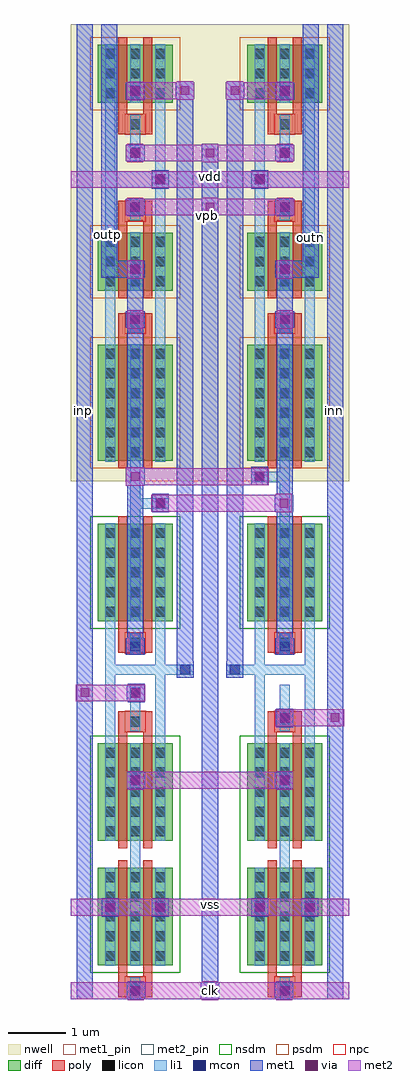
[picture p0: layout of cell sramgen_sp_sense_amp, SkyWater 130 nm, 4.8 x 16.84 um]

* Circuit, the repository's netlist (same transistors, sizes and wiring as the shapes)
************************************************************************
* auCdl Netlist:
* 
* Library Name:  AAA_Comp_SA_layers
* Top Cell Name: AAA_Comp_SA_sense
* View Name:     schematic
* Netlisted on:  Nov  1 17:24:53 2022
************************************************************************
*.BIPOLAR
*.RESI = 2000 
*.RESVAL
*.CAPVAL
*.DIOPERI
*.DIOAREA
*.EQUATION
*.SCALE METER
* .PARAM
************************************************************************
* Library Name: BAG_prim
* Cell Name:    nmos4_standard_pcell_0
* View Name:    schematic
************************************************************************
.SUBCKT nmos4_standard_pcell_0 B D G S
*.PININFO B:B D:B G:B S:B
mN0 D G S B nshort m=4 w=1.68 l=0.15 mult=1 sa=0.0 sb=0.0 sd=0.0 
+ topography=normal area=0.063 perim=1.14
.ENDS
************************************************************************
* Library Name: BAG_prim
* Cell Name:    nmos4_standard_pcell_1
* View Name:    schematic
************************************************************************
.SUBCKT nmos4_standard_pcell_1 B D G S
*.PININFO B:B D:B G:B S:B
mN0 D G S B nshort m=2 w=1.68 l=0.15 mult=1 sa=0.0 sb=0.0 sd=0.0 
+ topography=normal area=0.063 perim=1.14
.ENDS
************************************************************************
* Library Name: BAG_prim
* Cell Name:    pmos4_standard_pcell_2
* View Name:    schematic
************************************************************************
.SUBCKT pmos4_standard_pcell_2 B D G S
*.PININFO B:B D:B G:B S:B
mN0 D G S B pshort m=2 w=1.00 l=0.15 mult=1 sa=0.0 sb=0.0 sd=0.0 
+ topography=normal area=0.063 perim=1.14
.ENDS
************************************************************************
* Library Name: BAG_prim
* Cell Name:    pmos4_standard_pcell_3
* View Name:    schematic
************************************************************************
.SUBCKT pmos4_standard_pcell_3 B D G S
*.PININFO B:B D:B G:B S:B
mN0 D G S B pshort m=2 w=2.00 l=0.15 mult=1 sa=0.0 sb=0.0 sd=0.0 
+ topography=normal area=0.063 perim=1.14
.ENDS
************************************************************************
* Library Name: AAA_Comp_SA_layers
* Cell Name:    AAA_Comp_SA_sense
* View Name:    schematic
************************************************************************
.SUBCKT sramgen_sp_sense_amp clk inn inp midn midp outn outp VDD VSS
*.PININFO clk:I inn:I inp:I midn:O midp:O outn:O outp:O VDD:B VSS:B
XXTAIL VSS tail clk VSS / nmos4_standard_pcell_0
XXNFBP VSS outp outn midp / nmos4_standard_pcell_1
XXNFBN VSS outn outp midn / nmos4_standard_pcell_1
XXINP VSS midn inp tail / nmos4_standard_pcell_1
XXINN VSS midp inn tail / nmos4_standard_pcell_1
XXSWOP VDD outp clk VDD / pmos4_standard_pcell_2
XXSWON VDD outn clk VDD / pmos4_standard_pcell_2
XXSWMP VDD midp clk VDD / pmos4_standard_pcell_2
XXSWMN VDD midn clk VDD / pmos4_standard_pcell_2
XXPFBP VDD outp outn VDD / pmos4_standard_pcell_3
XXPFBN VDD outn outp VDD / pmos4_standard_pcell_3
.ENDS

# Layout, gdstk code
import gdstk
lib = gdstk.Library(unit=1e-6, precision=1e-09)
def R(c, l, rs):  # rectangles x0, y0, x1, y1
    for r in rs: c.add(gdstk.rectangle(r[:2], r[2:], *l))
def A(c, l, x, y, w, h, nx, ny, dx, dy):  # array of equal rectangles
    R(c, l, [(x+i*dx, y+j*dy, x+i*dx+w, y+j*dy+h) for i in range(nx) for j in range(ny)])
def P(c, l, *ps):  # polygons
    for p in ps: c.add(gdstk.Polygon(p, *l))
nwell = (64, 20)
diff = (65, 20)
poly = (66, 20)
licon = (66, 44)
li1 = (67, 20)
mcon = (67, 44)
met1_pin = (68, 16)
met1 = (68, 20)
via = (68, 44)
met2_pin = (69, 16)
met2 = (69, 20)
nsdm = (93, 44)
psdm = (94, 20)
npc = (95, 20)

sramgen_sp_sense_amp = lib.new_cell('sramgen_sp_sense_amp')
R(sramgen_sp_sense_amp, nwell, [(0,17.335,4.8,25.23)])
R(sramgen_sp_sense_amp, diff, [(0.465,8.985,1.755,10.665), (3.045,8.985,4.335,10.665), (0.465,11.135,1.755,12.815), (3.045,11.135,4.335,12.815), (0.465,14.925,1.755,16.605), (3.045,14.925,4.335,16.605), (0.465,17.69,1.755,19.69), (3.045,17.69,4.335,19.69), (0.465,20.63,1.755,21.63), (3.045,20.63,4.335,21.63), (0.465,23.875,1.755,24.875), (3.045,23.875,4.335,24.875)])
R(sramgen_sp_sense_amp, poly, [(0.97,8.475,1.25,8.745), (3.55,8.475,3.83,8.745), (0.97,13.055,1.25,13.325), (3.55,13.055,3.83,13.325), (0.97,14.415,1.25,14.685), (3.55,14.415,3.83,14.685), (0.97,19.93,1.25,20.2), (3.55,19.93,3.83,20.2), (0.97,21.87,1.25,22.14), (3.55,21.87,3.83,22.14), (0.97,23.365,1.25,23.635), (3.55,23.365,3.83,23.635)])
P(sramgen_sp_sense_amp, poly, [(0.82,11.005),(0.82,13.365),(1.4,13.365),(1.4,11.005),(1.25,11.005),(1.25,13.015),(0.97,13.015),(0.97,11.005)],
  [(0.82,17.56),(0.82,20.24),(1.4,20.24),(1.4,17.56),(1.25,17.56),(1.25,19.89),(0.97,19.89),(0.97,17.56)],
  [(0.82,20.5),(0.82,22.18),(1.4,22.18),(1.4,20.5),(1.25,20.5),(1.25,21.83),(0.97,21.83),(0.97,20.5)],
  [(0.82,23.325),(0.82,25.005),(0.97,25.005),(0.97,23.675),(1.25,23.675),(1.25,25.005),(1.4,25.005),(1.4,23.325)],
  [(0.82,14.375),(0.82,16.735),(0.97,16.735),(0.97,14.725),(1.25,14.725),(1.25,16.735),(1.4,16.735),(1.4,14.375)],
  [(0.82,8.435),(0.82,10.795),(0.97,10.795),(0.97,8.785),(1.25,8.785),(1.25,10.795),(1.4,10.795),(1.4,8.435)],
  [(3.4,11.005),(3.4,13.365),(3.98,13.365),(3.98,11.005),(3.83,11.005),(3.83,13.015),(3.55,13.015),(3.55,11.005)],
  [(3.4,17.56),(3.4,20.24),(3.98,20.24),(3.98,17.56),(3.83,17.56),(3.83,19.89),(3.55,19.89),(3.55,17.56)],
  [(3.4,20.5),(3.4,22.18),(3.98,22.18),(3.98,20.5),(3.83,20.5),(3.83,21.83),(3.55,21.83),(3.55,20.5)],
  [(3.4,23.325),(3.4,25.005),(3.55,25.005),(3.55,23.675),(3.83,23.675),(3.83,25.005),(3.98,25.005),(3.98,23.325)],
  [(3.4,14.375),(3.4,16.735),(3.55,16.735),(3.55,14.725),(3.83,14.725),(3.83,16.735),(3.98,16.735),(3.98,14.375)],
  [(3.4,8.435),(3.4,10.795),(3.55,10.795),(3.55,8.785),(3.83,8.785),(3.83,10.795),(3.98,10.795),(3.98,8.435)])
A(sramgen_sp_sense_amp, licon, 0.595, 9.06, 0.17, 0.17, 3, 5, 0.43, 0.34)
A(sramgen_sp_sense_amp, licon, 3.175, 9.06, 0.17, 0.17, 3, 5, 0.43, 0.34)
A(sramgen_sp_sense_amp, licon, 0.595, 11.21, 0.17, 0.17, 3, 5, 0.43, 0.34)
A(sramgen_sp_sense_amp, licon, 3.175, 11.21, 0.17, 0.17, 3, 5, 0.43, 0.34)
A(sramgen_sp_sense_amp, licon, 0.595, 15, 0.17, 0.17, 3, 5, 0.43, 0.34)
A(sramgen_sp_sense_amp, licon, 3.175, 15, 0.17, 0.17, 3, 5, 0.43, 0.34)
A(sramgen_sp_sense_amp, licon, 0.595, 17.755, 0.17, 0.17, 3, 6, 0.43, 0.34)
A(sramgen_sp_sense_amp, licon, 3.175, 17.755, 0.17, 0.17, 3, 6, 0.43, 0.34)
A(sramgen_sp_sense_amp, licon, 0.595, 20.705, 0.17, 0.17, 3, 3, 0.43, 0.34)
A(sramgen_sp_sense_amp, licon, 3.175, 20.705, 0.17, 0.17, 3, 3, 0.43, 0.34)
A(sramgen_sp_sense_amp, licon, 0.595, 23.95, 0.17, 0.17, 3, 3, 0.43, 0.34)
A(sramgen_sp_sense_amp, licon, 3.175, 23.95, 0.17, 0.17, 3, 3, 0.43, 0.34)
R(sramgen_sp_sense_amp, licon, [(1.025,8.525,1.195,8.695), (3.605,8.525,3.775,8.695), (1.025,13.105,1.195,13.275), (3.605,13.105,3.775,13.275), (1.025,14.465,1.195,14.635), (3.605,14.465,3.775,14.635), (1.025,19.98,1.195,20.15), (3.605,19.98,3.775,20.15), (1.025,21.92,1.195,22.09), (3.605,21.92,3.775,22.09), (1.025,23.415,1.195,23.585), (3.605,23.415,3.775,23.585)])
A(sramgen_sp_sense_amp, li1, 0.595, 8.98, 0.17, 1.69, 3, 2, 0.43, 2.15)
A(sramgen_sp_sense_amp, li1, 3.175, 8.98, 0.17, 1.69, 3, 2, 0.43, 2.15)
A(sramgen_sp_sense_amp, li1, 0.595, 14.92, 0.17, 1.69, 3, 1, 0.43, 0)
A(sramgen_sp_sense_amp, li1, 3.175, 14.92, 0.17, 1.69, 3, 1, 0.43, 0)
A(sramgen_sp_sense_amp, li1, 0.595, 17.675, 0.17, 2.03, 3, 1, 0.43, 0)
A(sramgen_sp_sense_amp, li1, 3.175, 17.675, 0.17, 2.03, 3, 1, 0.43, 0)
R(sramgen_sp_sense_amp, li1, [(1.025,8.4,1.195,8.69), (1.025,8.4,1.195,8.775), (3.605,8.4,3.775,8.69), (3.605,8.4,3.775,8.775), (1.025,8.445,1.195,8.775), (1.025,8.445,1.195,8.775), (3.605,8.445,3.775,8.775), (3.605,8.445,3.775,8.775), (1.025,8.98,1.195,12.325), (3.605,8.98,3.775,12.325), (0.595,9.85,0.765,10.14), (1.455,9.85,1.625,10.14), (3.175,9.85,3.345,10.14), (4.035,9.85,4.205,10.14), (0.595,11.23,0.765,16.61), (1.455,11.23,1.625,16.61), (3.175,11.23,3.345,16.61), (4.035,11.23,4.205,16.61), (1.025,12.035,1.195,12.325), (3.605,12.035,3.775,12.325), (1.025,13.025,1.195,13.83), (1.025,13.025,1.195,13.355), (1.025,13.025,1.195,13.355), (3.605,13.025,3.775,13.83), (3.605,13.025,3.775,13.355), (3.605,13.025,3.775,13.355), (3.605,13.17,3.775,13.34), (1.025,13.6,1.195,13.77), (0.645,14,2.12,14.17), (2.68,14,4.155,14.17), (1.89,14.005,2.06,14.175), (2.74,14.005,2.91,14.175), (0.64,14.255,0.645,14.26), (4.155,14.255,4.16,14.26), (1.025,14.34,1.195,14.63), (1.025,14.34,1.195,14.715), (3.605,14.34,3.775,14.63), (3.605,14.34,3.775,14.715), (1.025,14.385,1.195,14.715), (1.025,14.385,1.195,14.715), (3.605,14.385,3.775,14.715), (3.605,14.385,3.775,14.715), (1.025,15.26,1.195,19.705), (1.025,15.26,1.195,19.705), (3.605,15.26,3.775,19.705), (3.605,15.26,3.775,19.705), (1.035,16.86,1.69,17.045), (1.4,16.875,1.69,17.045), (3.11,17.32,3.75,17.505), (3.11,17.335,3.4,17.505), (0.595,17.675,0.765,24.88), (1.455,17.675,1.625,24.88), (3.175,17.675,3.345,24.88), (4.035,17.675,4.205,24.88), (1.025,19.9,1.195,20.275), (1.025,19.9,1.195,20.23), (1.025,19.9,1.195,20.23), (3.605,19.9,3.775,20.275), (3.605,19.9,3.775,20.23), (3.605,19.9,3.775,20.23), (1.025,19.985,1.195,20.275), (3.605,19.985,3.775,20.275), (0.595,20.625,0.765,21.635), (1.025,20.625,1.195,21.635), (1.025,20.625,1.195,21.635), (1.455,20.625,1.625,21.635), (3.175,20.625,3.345,21.635), (3.605,20.625,3.775,21.635), (3.605,20.625,3.775,21.635), (4.035,20.625,4.205,21.635), (1.025,20.85,1.195,21.14), (3.605,20.85,3.775,21.14), (1.025,21.84,1.195,22.215), (1.025,21.84,1.195,22.17), (1.025,21.84,1.195,22.17), (3.605,21.84,3.775,22.215), (3.605,21.84,3.775,22.17), (3.605,21.84,3.775,22.17), (1.025,21.925,1.195,22.215), (3.605,21.925,3.775,22.215), (0.595,22.4,4.205,22.69), (1.455,22.405,1.625,22.695), (3.175,22.405,3.345,22.695), (1.025,22.86,1.195,23.15), (1.025,22.86,1.195,23.665), (3.605,22.86,3.775,23.15), (3.605,22.86,3.775,23.665), (1.025,23.335,1.195,23.665), (1.025,23.335,1.195,23.665), (3.605,23.335,3.775,23.665), (3.605,23.335,3.775,23.665), (0.595,23.87,0.765,24.88), (1.025,23.87,1.195,24.88), (1.025,23.87,1.195,24.88), (1.455,23.87,1.625,24.88), (3.175,23.87,3.345,24.88), (3.605,23.87,3.775,24.88), (3.605,23.87,3.775,24.88), (4.035,23.87,4.205,24.88), (1.025,23.935,1.195,24.225), (3.605,23.935,3.775,24.225)])
R(sramgen_sp_sense_amp, mcon, [(1.025,8.46,1.195,8.63), (3.605,8.46,3.775,8.63), (0.595,9.91,0.765,10.08), (1.455,9.91,1.625,10.08), (3.175,9.91,3.345,10.08), (4.035,9.91,4.205,10.08), (1.025,12.095,1.195,12.265), (3.605,12.095,3.775,12.265), (3.605,13.17,3.775,13.34), (1.025,13.6,1.195,13.77), (1.89,14.005,2.06,14.175), (2.74,14.005,2.91,14.175), (1.025,14.4,1.195,14.57), (3.605,14.4,3.775,14.57), (1.46,16.875,1.63,17.045), (3.17,17.335,3.34,17.505), (1.025,20.045,1.195,20.215), (3.605,20.045,3.775,20.215), (1.025,20.91,1.195,21.08), (3.605,20.91,3.775,21.08), (1.025,21.985,1.195,22.155), (3.605,21.985,3.775,22.155), (1.455,22.465,1.625,22.635), (3.175,22.465,3.345,22.635), (1.025,22.92,1.195,23.09), (3.605,22.92,3.775,23.09), (1.025,23.995,1.195,24.165), (3.605,23.995,3.775,24.165)])
R(sramgen_sp_sense_amp, met1_pin, [(0.1,8.4,0.38,25.23), (4.42,8.4,4.7,25.23), (0.52,20.85,0.8,25.23), (4,20.85,4.28,25.23)])
A(sramgen_sp_sense_amp, met1, 0.96, 8.4, 0.32, 0.29, 3, 1, 1.28, 0)
R(sramgen_sp_sense_amp, met1, [(0.1,8.4,0.38,25.23), (0.965,8.4,1.255,8.69), (2.26,8.4,2.54,23.165), (3.545,8.4,3.835,8.69), (4.42,8.4,4.7,25.23), (0.535,9.82,0.825,10.14), (1.395,9.82,1.685,10.14), (3.115,9.82,3.405,10.14), (3.975,9.82,4.265,10.14), (0.535,9.85,0.825,10.14), (1.395,9.85,1.685,10.14), (3.115,9.85,3.405,10.14), (3.975,9.85,4.265,10.14), (0.96,12.03,1.28,12.32), (3.52,12.03,3.84,12.32), (0.965,12.035,1.255,12.325), (0.965,12.035,1.255,12.325), (3.545,12.035,3.835,12.325), (3.545,12.035,3.835,12.325), (3.545,13.095,3.835,13.415), (4.42,13.1,4.7,13.42), (4.42,13.13,4.7,13.42), (0.98,13.52,1.27,13.84), (0.1,13.53,0.38,13.85), (0.965,13.54,1.255,13.83), (0.1,13.56,0.38,13.85), (1.83,13.945,2.12,14.235), (2.68,13.945,2.97,14.235), (1.83,13.965,2.11,24.24), (2.69,13.965,2.97,24.24), (0.95,14.34,1.27,14.63), (0.965,14.34,1.255,14.63), (0.97,14.34,1.25,21.155), (3.53,14.34,3.85,14.63), (3.545,14.34,3.835,14.63), (3.55,14.34,3.83,21.155), (3.55,14.665,3.83,21.155), (1.4,16.8,1.69,17.12), (1.4,16.815,1.69,17.105), (3.515,16.815,3.835,17.105), (0.95,17.26,1.27,17.58), (3.11,17.265,3.4,17.585), (3.11,17.275,3.4,17.565), (0.95,19.985,1.27,20.275), (0.95,19.985,1.27,20.275), (0.965,19.985,1.255,20.275), (3.53,19.985,3.85,20.275), (3.53,19.985,3.85,20.275), (3.545,19.985,3.835,20.275), (0.52,20.85,0.8,25.23), (0.52,20.85,1.27,21.14), (0.95,20.85,1.27,21.14), (0.965,20.85,1.255,21.14), (3.53,20.85,3.85,21.14), (3.53,20.85,4.28,21.14), (3.545,20.85,3.835,21.14), (4,20.85,4.28,25.23), (0.95,21.925,1.27,22.215), (0.965,21.925,1.255,22.215), (3.53,21.925,3.85,22.215), (3.545,21.925,3.835,22.215), (1.395,22.39,1.685,22.71), (3.115,22.39,3.405,22.71), (1.395,22.42,1.685,22.71), (3.115,22.42,3.405,22.71), (0.95,22.86,1.27,23.15), (0.965,22.86,1.26,23.15), (3.53,22.86,3.85,23.15), (3.545,22.86,3.835,23.15), (0.95,23.925,1.27,24.215), (3.53,23.925,3.85,24.215), (0.965,23.935,1.255,24.225), (1.81,23.935,2.13,24.225), (2.67,23.935,2.99,24.225), (3.545,23.935,3.835,24.225)])
A(sramgen_sp_sense_amp, via, 1.045, 8.47, 0.15, 0.15, 3, 1, 1.28, 0)
A(sramgen_sp_sense_amp, via, 1.035, 21.995, 0.15, 0.15, 3, 2, 1.29, 0.935)
R(sramgen_sp_sense_amp, via, [(0.605,9.905,0.755,10.055), (1.465,9.905,1.615,10.055), (3.185,9.905,3.335,10.055), (4.045,9.905,4.195,10.055), (1.045,12.1,1.195,12.25), (3.605,12.1,3.755,12.25), (3.615,13.18,3.765,13.33), (4.485,13.185,4.635,13.335), (1.05,13.605,1.2,13.755), (0.165,13.615,0.315,13.765), (1.47,16.885,1.62,17.035), (3.6,16.885,3.75,17.035), (1.035,17.345,1.185,17.495), (3.18,17.35,3.33,17.5), (1.035,20.055,1.185,20.205), (3.615,20.055,3.765,20.205), (1.035,20.92,1.185,21.07), (3.615,20.92,3.765,21.07), (1.465,22.475,1.615,22.625), (3.185,22.475,3.335,22.625), (1.035,23.995,1.185,24.145), (3.615,23.995,3.765,24.145), (1.895,24.005,2.045,24.155), (2.755,24.005,2.905,24.155)])
R(sramgen_sp_sense_amp, met2_pin, [(0,8.4,4.8,8.69), (0,9.84,4.8,10.13), (0,22.4,4.8,22.69)])
A(sramgen_sp_sense_amp, met2, 0.98, 8.385, 0.28, 0.32, 3, 1, 1.28, 0)
A(sramgen_sp_sense_amp, met2, 0.52, 9.84, 0.32, 0.28, 3, 1, 0.43, 0)
A(sramgen_sp_sense_amp, met2, 3.1, 9.84, 0.32, 0.28, 3, 1, 0.43, 0)
A(sramgen_sp_sense_amp, met2, 0.97, 21.91, 0.28, 0.32, 3, 2, 1.29, 0.935)
R(sramgen_sp_sense_amp, met2, [(0,8.4,4.8,8.69), (0.965,8.4,3.835,8.69), (2.55,8.4,3.555,8.69), (0,9.84,4.8,10.13), (0.98,12.015,1.26,12.335), (3.54,12.015,3.82,12.335), (0.965,12.035,3.835,12.325), (3.53,13.11,4.72,13.4), (0.08,13.54,1.285,13.83), (0.965,13.54,1.285,13.82), (3.535,16.8,3.815,17.12), (1.385,16.815,3.815,17.105), (1.385,16.82,1.705,17.1), (0.95,17.26,1.27,17.58), (0.95,17.27,3.415,17.56), (3.095,17.285,3.415,17.565), (0.97,19.97,1.25,20.29), (3.55,19.97,3.83,20.29), (0.97,20.835,1.25,21.155), (3.55,20.835,3.83,21.155), (0.95,21.925,3.85,22.215), (0,22.4,4.8,22.69), (1.38,22.41,1.7,22.69), (3.1,22.41,3.42,22.69), (0.95,22.86,3.85,23.15), (0.97,23.91,1.25,24.23), (3.55,23.91,3.83,24.23), (1.83,23.92,2.11,24.24), (2.69,23.92,2.97,24.24), (0.965,23.935,2.13,24.225), (2.67,23.935,3.835,24.225)])
R(sramgen_sp_sense_amp, nsdm, [(0.335,8.855,1.885,11.005), (2.915,8.855,4.465,11.005), (0.335,11.005,1.885,12.945), (2.915,11.005,4.465,12.945), (0.335,14.795,1.885,16.735), (2.915,14.795,4.465,16.735)])
R(sramgen_sp_sense_amp, psdm, [(0.335,17.56,1.885,19.82), (2.915,17.56,4.465,19.82), (0.335,20.5,1.885,21.76), (2.915,20.5,4.465,21.76), (0.335,23.745,1.885,25.005), (2.915,23.745,4.465,25.005)])
R(sramgen_sp_sense_amp, npc, [(0.925,8.425,1.295,8.795), (1.005,8.425,1.215,8.795), (3.505,8.425,3.875,8.795), (3.585,8.425,3.795,8.795), (0.925,13.005,1.295,13.375), (1.005,13.005,1.215,13.375), (3.505,13.005,3.875,13.375), (3.585,13.005,3.795,13.375), (0.925,14.365,1.295,14.735), (1.005,14.365,1.215,14.735), (3.505,14.365,3.875,14.735), (3.585,14.365,3.795,14.735), (0.925,19.88,1.295,20.25), (1.005,19.88,1.215,20.25), (3.505,19.88,3.875,20.25), (3.585,19.88,3.795,20.25), (0.925,21.82,1.295,22.19), (1.005,21.82,1.215,22.19), (3.505,21.82,3.875,22.19), (3.585,21.82,3.795,22.19), (0.925,23.315,1.295,23.685), (1.005,23.315,1.215,23.685), (3.505,23.315,3.875,23.685), (3.585,23.315,3.795,23.685)])
sramgen_sp_sense_amp.add(gdstk.Label('outp', (0.625,21.6), layer=68, texttype=16))
sramgen_sp_sense_amp.add(gdstk.Label('outn', (4.135,21.55), layer=68, texttype=16))
sramgen_sp_sense_amp.add(gdstk.Label('inp', (0.225,18.555), layer=68, texttype=16))
sramgen_sp_sense_amp.add(gdstk.Label('inn', (4.545,18.555), layer=68, texttype=16))
sramgen_sp_sense_amp.add(gdstk.Label('vdd', (2.4,22.59), layer=69, texttype=16))
sramgen_sp_sense_amp.add(gdstk.Label('vss', (2.4,10.03), layer=69, texttype=16))
sramgen_sp_sense_amp.add(gdstk.Label('clk', (2.4,8.545), layer=69, texttype=16))
sramgen_sp_sense_amp.add(gdstk.Label('vpb', (2.363,21.92), layer=64, texttype=5))

lib.write_gds('sramgen_sp_sense_amp.gds')
